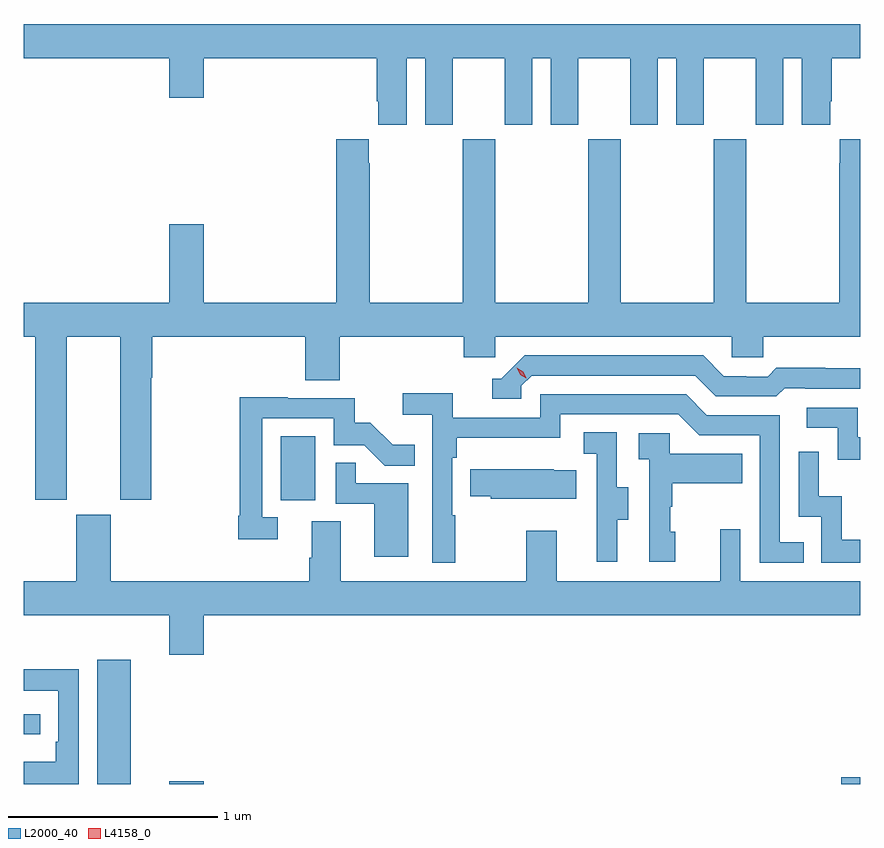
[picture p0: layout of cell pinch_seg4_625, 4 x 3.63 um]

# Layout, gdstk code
import gdstk
lib = gdstk.Library(unit=1e-6, precision=1e-09)
def R(c, l, rs):  # rectangles x0, y0, x1, y1
    for r in rs: c.add(gdstk.rectangle(r[:2], r[2:], *l))
def P(c, l, *ps):  # polygons
    for p in ps: c.add(gdstk.Polygon(p, *l))
L2000_40 = (2000, 40)
L4158_0 = (4158, 0)

pinch_seg4_625 = lib.new_cell('pinch_seg4_625')
R(pinch_seg4_625, L2000_40, [(1027.799,749.394,1027.96,749.989), (1028.144,749.394,1028.308,749.407), (1031.358,749.394,1031.448,749.426), (1027.448,749.631,1027.528,749.727), (1028.678,750.75,1028.842,751.057)])
P(pinch_seg4_625, L2000_40, [(1029.28,752.864),(1029.368,752.864),(1029.368,752.547),(1029.499,752.547),(1029.499,752.864),(1029.749,752.864),(1029.749,752.547),(1029.88,752.547),(1029.88,752.864),(1029.968,752.864),(1029.968,752.547),(1030.099,752.547),(1030.099,752.864),(1030.349,752.864),(1030.349,752.547),(1030.48,752.547),(1030.48,752.864),(1030.568,752.864),(1030.568,752.547),(1030.699,752.547),(1030.699,752.864),(1030.949,752.864),(1030.949,752.547),(1031.08,752.547),(1031.08,752.864),(1031.168,752.864),(1031.168,752.547),(1031.305,752.547),(1031.305,752.659),(1031.312,752.659),(1031.312,752.864),(1031.448,752.864),(1031.448,753.028),(1027.448,753.028),(1027.448,752.864),(1028.144,752.864),(1028.144,752.676),(1028.308,752.676),(1028.308,752.864),(1029.137,752.864),(1029.137,752.659),(1029.143,752.659),(1029.143,752.547),(1029.28,752.547)],
  [(1027.654,751.532),(1027.91,751.532),(1027.91,750.753),(1028.058,750.753),(1028.058,751.336),(1028.063,751.336),(1028.063,751.532),(1028.795,751.532),(1028.795,751.324),(1028.96,751.324),(1028.96,751.532),(1029.551,751.532),(1029.551,751.434),(1029.702,751.434),(1029.702,751.532),(1030.833,751.532),(1030.833,751.434),(1030.983,751.434),(1030.983,751.532),(1031.448,751.532),(1031.448,752.476),(1031.351,752.476),(1031.351,752.363),(1031.347,752.363),(1031.347,751.696),(1030.902,751.696),(1030.902,752.476),(1030.747,752.476),(1030.747,751.696),(1030.302,751.696),(1030.302,752.476),(1030.147,752.476),(1030.147,751.696),(1029.702,751.696),(1029.702,752.476),(1029.547,752.476),(1029.547,751.696),(1029.102,751.696),(1029.102,752.363),(1029.097,752.363),(1029.097,752.476),(1028.942,752.476),(1028.942,751.696),(1028.308,751.696),(1028.308,752.071),(1028.144,752.071),(1028.144,751.696),(1027.448,751.696),(1027.448,751.532),(1027.502,751.532),(1027.502,750.753),(1027.654,750.753)],
  [(1029.828,751.299),(1029.876,751.347),(1030.659,751.347),(1030.758,751.248),(1031.047,751.248),(1031.086,751.287),(1031.185,751.287),(1031.185,751.284),(1031.448,751.284),(1031.448,751.381),(1031.28,751.381),(1031.28,751.384),(1031.047,751.384),(1031.005,751.341),(1030.902,751.341),(1030.902,751.344),(1030.795,751.344),(1030.696,751.443),(1029.843,751.443),(1029.732,751.332),(1029.689,751.332),(1029.689,751.236),(1029.828,751.236)],
  [(1029.511,750.68),(1029.498,750.68),(1029.498,750.953),(1029.518,750.953),(1029.518,751.049),(1030.014,751.049),(1030.014,751.161),(1030.578,751.161),(1030.677,751.062),(1030.968,751.062),(1030.968,750.453),(1031.177,750.453),(1031.177,750.549),(1031.064,750.549),(1031.064,751.158),(1030.714,751.158),(1030.615,751.257),(1029.918,751.257),(1029.918,751.146),(1029.5,751.146),(1029.5,751.262),(1029.261,751.262),(1029.261,751.16),(1029.402,751.16),(1029.402,750.453),(1029.511,750.453)],
  [(1028.662,750.669),(1028.589,750.669),(1028.589,751.143),(1028.931,751.143),(1028.931,751.014),(1029.076,751.014),(1029.174,750.916),(1029.317,750.916),(1029.317,751.015),(1029.213,751.015),(1029.106,751.122),(1029.03,751.122),(1029.03,751.239),(1028.711,751.239),(1028.711,751.244),(1028.481,751.244),(1028.481,750.676),(1028.473,750.676),(1028.473,750.564),(1028.662,750.564)],
  [(1031.448,751.053),(1031.436,751.053),(1031.436,751.194),(1031.193,751.194),(1031.193,751.098),(1031.34,751.098),(1031.34,750.945),(1031.448,750.945)],
  [(1030.285,750.658),(1030.339,750.658),(1030.339,750.813),(1030.284,750.813),(1030.284,751.076),(1030.125,751.076),(1030.125,750.973),(1030.188,750.973),(1030.188,750.669),(1030.187,750.669),(1030.187,750.456),(1030.285,750.456)],
  [(1030.564,750.6),(1030.539,750.6),(1030.539,750.719),(1030.549,750.719),(1030.549,750.833),(1030.883,750.833),(1030.883,750.973),(1030.536,750.973),(1030.536,751.071),(1030.389,751.071),(1030.389,750.947),(1030.44,750.947),(1030.44,750.456),(1030.564,750.456)],
  [(1031.448,750.562),(1031.36,750.562),(1031.36,750.77),(1031.25,750.77),(1031.25,750.982),(1031.154,750.982),(1031.154,750.672),(1031.262,750.672),(1031.262,750.453),(1031.448,750.453)],
  [(1029.286,750.831),(1029.035,750.831),(1029.035,750.929),(1028.94,750.929),(1028.94,750.735),(1029.125,750.735),(1029.125,750.48),(1029.286,750.48)],
  [(1030.091,750.895),(1029.983,750.895),(1029.983,750.898),(1029.583,750.898),(1029.583,750.769),(1029.681,750.769),(1029.681,750.758),(1030.091,750.758)],
  [(1028.308,750.2),(1031.448,750.2),(1031.448,750.364),(1030.875,750.364),(1030.875,750.613),(1030.778,750.613),(1030.778,750.364),(1029.997,750.364),(1029.997,750.604),(1029.85,750.604),(1029.85,750.364),(1028.965,750.364),(1028.965,750.65),(1028.825,750.65),(1028.825,750.476),(1028.813,750.476),(1028.813,750.364),(1027.864,750.364),(1027.864,750.681),(1027.7,750.681),(1027.7,750.364),(1027.448,750.364),(1027.448,750.2),(1028.144,750.2),(1028.144,750.012),(1028.308,750.012)],
  [(1027.71,749.942),(1027.448,749.942),(1027.448,749.841),(1027.614,749.841),(1027.614,749.596),(1027.601,749.596),(1027.601,749.5),(1027.448,749.5),(1027.448,749.394),(1027.71,749.394)])
P(pinch_seg4_625, L4158_0, [(1029.851,751.333),(1029.821,751.352),(1029.805,751.384),(1029.805,751.385),(1029.805,751.385),(1029.836,751.365),(1029.852,751.333),(1029.852,751.333)])

lib.write_gds('pinch_seg4_625.gds')
